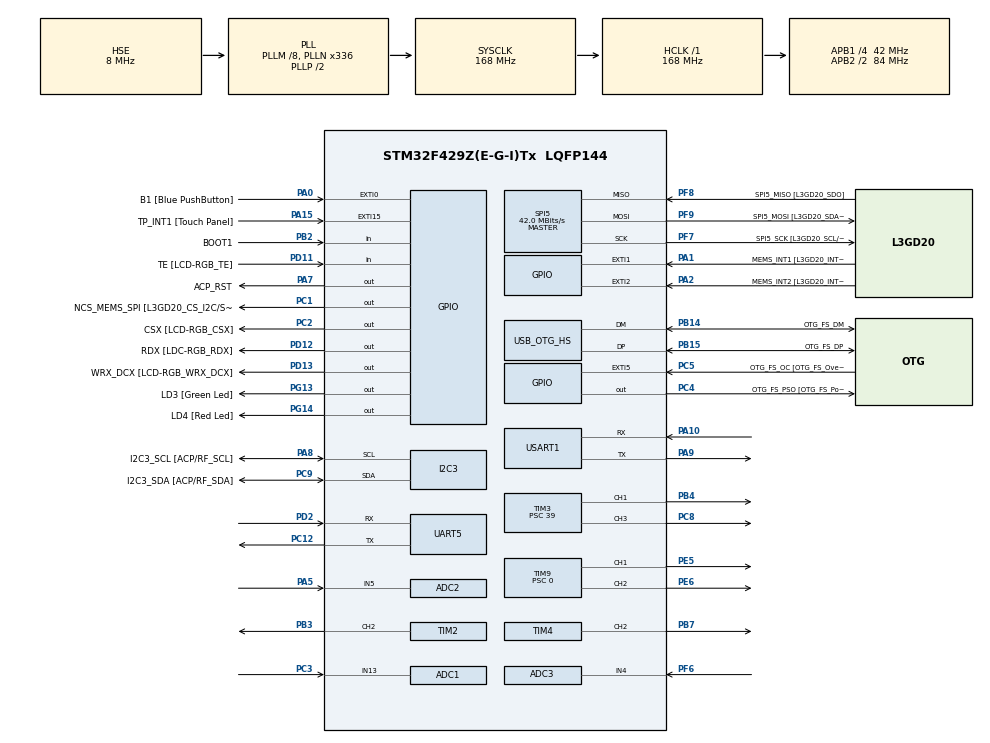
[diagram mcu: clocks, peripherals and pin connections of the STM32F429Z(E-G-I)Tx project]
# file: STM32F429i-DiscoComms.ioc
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ADC1.Channel-0\#ChannelRegularConversion=ADC_CHANNEL_13
ADC1.ContinuousConvMode=ENABLE
ADC1.DMAContinuousRequests=ENABLE
ADC1.EOCSelection=EOC_SEQ_CONV
ADC1.NbrOfConversion=1
ADC1.NbrOfConversionFlag=1
ADC1.Rank-0\#ChannelRegularConversion=1
ADC1.SamplingTime-0\#ChannelRegularConversion=ADC_SAMPLETIME_56CYCLES
ADC1.master=1
ADC2.Channel-10\#ChannelRegularConversion=ADC_CHANNEL_5
ADC2.ContinuousConvMode=ENABLE
ADC2.DMAContinuousRequests=ENABLE
ADC2.EOCSelection=EOC_SEQ_CONV
ADC2.NbrOfConversionFlag=1
ADC2.Rank-10\#ChannelRegularConversion=1
ADC2.SamplingTime-10\#ChannelRegularConversion=ADC_SAMPLETIME_56CYCLES
ADC2.ScanConvMode=DISABLE
ADC3.Channel-0\#ChannelRegularConversion=ADC_CHANNEL_4
ADC3.ContinuousConvMode=ENABLE
ADC3.DMAContinuousRequests=ENABLE
ADC3.EOCSelection=EOC_SEQ_CONV
ADC3.NbrOfConversionFlag=1
ADC3.Rank-0\#ChannelRegularConversion=1
ADC3.SamplingTime-0\#ChannelRegularConversion=ADC_SAMPLETIME_3CYCLES
Dma.ADC1.4.Channel=DMA_CHANNEL_0
Dma.ADC1.4.Direction=DMA_PERIPH_TO_MEMORY
Dma.ADC1.4.FIFOMode=DMA_FIFOMODE_DISABLE
Dma.ADC1.4.FIFOThreshold=DMA_FIFO_THRESHOLD_FULL
Dma.ADC1.4.Instance=DMA2_Stream0
Dma.ADC1.4.MemBurst=DMA_MBURST_SINGLE
Dma.ADC1.4.MemDataAlignment=DMA_MDATAALIGN_HALFWORD
Dma.ADC1.4.MemInc=DMA_MINC_DISABLE
Dma.ADC1.4.Mode=DMA_NORMAL
Dma.ADC1.4.PeriphBurst=DMA_PBURST_SINGLE
Dma.ADC1.4.PeriphDataAlignment=DMA_PDATAALIGN_HALFWORD
Dma.ADC1.4.PeriphInc=DMA_PINC_DISABLE
Dma.ADC1.4.Priority=DMA_PRIORITY_MEDIUM
Dma.ADC2.5.Channel=DMA_CHANNEL_1
Dma.ADC2.5.Direction=DMA_PERIPH_TO_MEMORY
Dma.ADC2.5.FIFOMode=DMA_FIFOMODE_DISABLE
Dma.ADC2.5.FIFOThreshold=DMA_FIFO_THRESHOLD_FULL
Dma.ADC2.5.Instance=DMA2_Stream3
Dma.ADC2.5.MemBurst=DMA_MBURST_SINGLE
Dma.ADC2.5.MemDataAlignment=DMA_MDATAALIGN_HALFWORD
Dma.ADC2.5.MemInc=DMA_MINC_DISABLE
Dma.ADC2.5.Mode=DMA_NORMAL
Dma.ADC2.5.PeriphBurst=DMA_PBURST_SINGLE
Dma.ADC2.5.PeriphDataAlignment=DMA_PDATAALIGN_HALFWORD
Dma.ADC2.5.PeriphInc=DMA_PINC_DISABLE
Dma.ADC2.5.Priority=DMA_PRIORITY_LOW
Dma.ADC3.6.Channel=DMA_CHANNEL_2
Dma.ADC3.6.Direction=DMA_PERIPH_TO_MEMORY
Dma.ADC3.6.FIFOMode=DMA_FIFOMODE_DISABLE
Dma.ADC3.6.FIFOThreshold=DMA_FIFO_THRESHOLD_FULL
Dma.ADC3.6.Instance=DMA2_Stream1
Dma.ADC3.6.MemBurst=DMA_MBURST_SINGLE
Dma.ADC3.6.MemDataAlignment=DMA_MDATAALIGN_HALFWORD
Dma.ADC3.6.MemInc=DMA_MINC_DISABLE
Dma.ADC3.6.Mode=DMA_NORMAL
Dma.ADC3.6.PeriphBurst=DMA_PBURST_SINGLE
Dma.ADC3.6.PeriphDataAlignment=DMA_PDATAALIGN_HALFWORD
Dma.ADC3.6.PeriphInc=DMA_PINC_DISABLE
Dma.ADC3.6.Priority=DMA_PRIORITY_LOW
Dma.Request0=UART5_RX
Dma.Request1=UART5_TX
Dma.Request2=USART1_RX
Dma.Request3=USART1_TX
Dma.Request4=ADC1
Dma.Request5=ADC2
Dma.Request6=ADC3
Dma.UART5_RX.0.Channel=DMA_CHANNEL_4
Dma.UART5_RX.0.Direction=DMA_PERIPH_TO_MEMORY
Dma.UART5_RX.0.FIFOMode=DMA_FIFOMODE_DISABLE
Dma.UART5_RX.0.FIFOThreshold=DMA_FIFO_THRESHOLD_FULL
Dma.UART5_RX.0.Instance=DMA1_Stream0
Dma.UART5_RX.0.MemBurst=DMA_MBURST_SINGLE
Dma.UART5_RX.0.MemDataAlignment=DMA_MDATAALIGN_BYTE
Dma.UART5_RX.0.MemInc=DMA_MINC_ENABLE
Dma.UART5_RX.0.Mode=DMA_NORMAL
Dma.UART5_RX.0.PeriphBurst=DMA_PBURST_SINGLE
Dma.UART5_RX.0.PeriphDataAlignment=DMA_PDATAALIGN_BYTE
Dma.UART5_RX.0.PeriphInc=DMA_PINC_DISABLE
Dma.UART5_RX.0.Priority=DMA_PRIORITY_LOW
Dma.UART5_TX.1.Channel=DMA_CHANNEL_4
Dma.UART5_TX.1.Direction=DMA_MEMORY_TO_PERIPH
Dma.UART5_TX.1.FIFOMode=DMA_FIFOMODE_DISABLE
Dma.UART5_TX.1.FIFOThreshold=DMA_FIFO_THRESHOLD_FULL
Dma.UART5_TX.1.Instance=DMA1_Stream7
Dma.UART5_TX.1.MemBurst=DMA_MBURST_SINGLE
Dma.UART5_TX.1.MemDataAlignment=DMA_MDATAALIGN_BYTE
Dma.UART5_TX.1.MemInc=DMA_MINC_ENABLE
Dma.UART5_TX.1.Mode=DMA_NORMAL
Dma.UART5_TX.1.PeriphBurst=DMA_PBURST_SINGLE
Dma.UART5_TX.1.PeriphDataAlignment=DMA_PDATAALIGN_BYTE
Dma.UART5_TX.1.PeriphInc=DMA_PINC_DISABLE
Dma.UART5_TX.1.Priority=DMA_PRIORITY_LOW
Dma.USART1_RX.2.Channel=DMA_CHANNEL_4
Dma.USART1_RX.2.Direction=DMA_PERIPH_TO_MEMORY
Dma.USART1_RX.2.FIFOMode=DMA_FIFOMODE_DISABLE
Dma.USART1_RX.2.FIFOThreshold=DMA_FIFO_THRESHOLD_FULL
Dma.USART1_RX.2.Instance=DMA2_Stream2
Dma.USART1_RX.2.MemBurst=DMA_MBURST_SINGLE
Dma.USART1_RX.2.MemDataAlignment=DMA_MDATAALIGN_BYTE
Dma.USART1_RX.2.MemInc=DMA_MINC_ENABLE
Dma.USART1_RX.2.Mode=DMA_NORMAL
Dma.USART1_RX.2.PeriphBurst=DMA_PBURST_SINGLE
Dma.USART1_RX.2.PeriphDataAlignment=DMA_PDATAALIGN_BYTE
Dma.USART1_RX.2.PeriphInc=DMA_PINC_DISABLE
Dma.USART1_RX.2.Priority=DMA_PRIORITY_LOW
Dma.USART1_TX.3.Channel=DMA_CHANNEL_4
Dma.USART1_TX.3.Direction=DMA_MEMORY_TO_PERIPH
Dma.USART1_TX.3.FIFOMode=DMA_FIFOMODE_DISABLE
Dma.USART1_TX.3.FIFOThreshold=DMA_FIFO_THRESHOLD_FULL
Dma.USART1_TX.3.Instance=DMA2_Stream7
Dma.USART1_TX.3.MemBurst=DMA_MBURST_SINGLE
Dma.USART1_TX.3.MemDataAlignment=DMA_MDATAALIGN_BYTE
Dma.USART1_TX.3.MemInc=DMA_MINC_ENABLE
Dma.USART1_TX.3.Mode=DMA_NORMAL
Dma.USART1_TX.3.PeriphBurst=DMA_PBURST_SINGLE
Dma.USART1_TX.3.PeriphDataAlignment=DMA_PDATAALIGN_BYTE
Dma.USART1_TX.3.PeriphInc=DMA_PINC_DISABLE
Dma.USART1_TX.3.Priority=DMA_PRIORITY_LOW
FREERTOS.Tasks01=defaultTask,0,128,StartDefaultTask
Mcu.Family=STM32F4
Mcu.Name=STM32F429Z(E-G-I)Tx
Mcu.Package=LQFP144
NVIC.ADC_IRQn=true\:5\:0\:false
NVIC.DMA1_Stream0_IRQn=true\:5\:0\:false
NVIC.DMA1_Stream7_IRQn=true\:5\:0\:false
NVIC.DMA2_Stream0_IRQn=true\:5\:0\:false
NVIC.DMA2_Stream1_IRQn=true\:5\:0\:false
NVIC.DMA2_Stream2_IRQn=true\:5\:0\:false
NVIC.DMA2_Stream3_IRQn=true\:5\:0\:false
NVIC.DMA2_Stream7_IRQn=true\:5\:0\:false
NVIC.OTG_HS_IRQn=true\:5\:0\:false
NVIC.PriorityGroup=NVIC_PRIORITYGROUP_4
NVIC.UART5_IRQn=true\:5\:0\:false
NVIC.USART1_IRQn=true\:5\:0\:false
PA0/WKUP.GPIO_Label=B1 [Blue PushButton]
PA0/WKUP.GPIO_ModeDefaultEXTI=GPIO_MODE_EVT_RISING
PA0/WKUP.GPIO_PuPd=GPIO_NOPULL
PA0/WKUP.Signal=GPXTI0
PA1.GPIO_Label=MEMS_INT1 [L3GD20_INT1]
PA1.GPIO_ModeDefaultEXTI=GPIO_MODE_EVT_RISING
PA1.GPIO_PuPd=GPIO_NOPULL
PA1.Signal=GPXTI1
PA10.Mode=Asynchronous
PA10.Signal=USART1_RX
PA11.GPIO_Label=R4
PA11.GPIO_Mode=GPIO_MODE_AF_PP
PA11.GPIO_PuPd=GPIO_NOPULL
PA11.GPIO_Speed=GPIO_SPEED_LOW
PA11.Signal=LTDC_R4
PA12.GPIO_Label=R5
PA12.GPIO_Mode=GPIO_MODE_AF_PP
PA12.GPIO_PuPd=GPIO_NOPULL
PA12.GPIO_Speed=GPIO_SPEED_LOW
PA12.Signal=LTDC_R5
PA13.GPIO_Label=SWDIO
PA13.Mode=Serial-Wire
PA13.Signal=SYS_JTMS-SWDIO
PA14.GPIO_Label=SWCLK
PA14.Mode=Serial-Wire
PA14.Signal=SYS_JTCK-SWCLK
PA15.GPIO_Label=TP_INT1 [Touch Panel]
PA15.GPIO_ModeDefaultEXTI=GPIO_MODE_EVT_RISING
PA15.GPIO_PuPd=GPIO_NOPULL
PA15.Signal=GPXTI15
PA2.GPIO_Label=MEMS_INT2 [L3GD20_INT2]
PA2.GPIO_ModeDefaultEXTI=GPIO_MODE_EVT_RISING
PA2.GPIO_PuPd=GPIO_NOPULL
PA2.Signal=GPXTI2
PA3.GPIO_Label=B5
PA3.GPIO_Mode=GPIO_MODE_AF_PP
PA3.GPIO_PuPd=GPIO_NOPULL
PA3.GPIO_Speed=GPIO_SPEED_LOW
PA3.Signal=LTDC_B5
PA4.GPIO_Label=VSYNC
PA4.GPIO_Mode=GPIO_MODE_AF_PP
PA4.GPIO_PuPd=GPIO_NOPULL
PA4.GPIO_Speed=GPIO_SPEED_LOW
PA4.Signal=LTDC_VSYNC
PA5.Signal=ADCx_IN5
PA6.GPIO_Label=G2
PA6.GPIO_Mode=GPIO_MODE_AF_PP
PA6.GPIO_PuPd=GPIO_NOPULL
PA6.GPIO_Speed=GPIO_SPEED_LOW
PA6.Signal=LTDC_G2
PA7.GPIO_Label=ACP_RST
PA7.GPIO_Mode=GPIO_MODE_OUTPUT_PP
PA7.GPIO_ModeDefaultOutputPP=GPIO_MODE_OUTPUT_PP
PA7.GPIO_PuPd=GPIO_NOPULL
PA7.GPIO_Speed=GPIO_SPEED_LOW
PA7.Signal=GPIO_Output
PA8.GPIO_Label=I2C3_SCL [ACP/RF_SCL]
PA8.GPIO_Mode=GPIO_MODE_AF_OD
PA8.GPIO_PuPd=GPIO_NOPULL
PA8.GPIO_PuPdOD=GPIO_PULLUP
PA8.GPIO_Speed=GPIO_SPEED_LOW
PA8.Mode=I2C
PA8.Signal=I2C3_SCL
PA9.Mode=Asynchronous
PA9.Signal=USART1_TX
PB0.GPIO_Label=R3
PB0.GPIO_Mode=GPIO_MODE_AF_PP
PB0.GPIO_PuPd=GPIO_NOPULL
PB0.GPIO_Speed=GPIO_SPEED_LOW
PB0.Signal=LTDC_R3
PB1.GPIO_Label=R6
PB1.GPIO_Mode=GPIO_MODE_AF_PP
PB1.GPIO_PuPd=GPIO_NOPULL
PB1.GPIO_Speed=GPIO_SPEED_LOW
PB1.Signal=LTDC_R6
PB10.GPIO_Label=G4
PB10.GPIO_Mode=GPIO_MODE_AF_PP
PB10.GPIO_PuPd=GPIO_NOPULL
PB10.GPIO_Speed=GPIO_SPEED_LOW
PB10.Signal=LTDC_G4
PB11.GPIO_Label=G5
PB11.GPIO_Mode=GPIO_MODE_AF_PP
PB11.GPIO_PuPd=GPIO_NOPULL
PB11.GPIO_Speed=GPIO_SPEED_LOW
PB11.Signal=LTDC_G5
PB12.GPIO_Label=OTG_FS_ID
PB12.GPIO_Mode=GPIO_MODE_AF_PP
PB12.GPIO_PuPd=GPIO_NOPULL
PB12.GPIO_Speed=GPIO_SPEED_LOW
PB12.Signal=USB_OTG_HS_ID
PB13.GPIO_Label=VBUS_FS
PB13.GPIO_Mode=GPIO_MODE_INPUT
PB13.GPIO_PuPd=GPIO_NOPULL
PB13.Signal=USB_OTG_HS_VBUS
PB14.GPIO_Label=OTG_FS_DM
PB14.GPIO_Mode=GPIO_MODE_AF_PP
PB14.GPIO_PuPd=GPIO_NOPULL
PB14.GPIO_Speed=GPIO_SPEED_LOW
PB14.Mode=Device_Only_FS
PB14.Signal=USB_OTG_HS_DM
PB15.GPIO_Label=OTG_FS_DP
PB15.GPIO_Mode=GPIO_MODE_AF_PP
PB15.GPIO_PuPd=GPIO_NOPULL
PB15.GPIO_Speed=GPIO_SPEED_LOW
PB15.Mode=Device_Only_FS
PB15.Signal=USB_OTG_HS_DP
PB2/BOOT1.GPIO_Label=BOOT1
PB2/BOOT1.GPIO_Mode=GPIO_MODE_INPUT
PB2/BOOT1.GPIO_PuPd=GPIO_NOPULL
PB2/BOOT1.Signal=GPIO_Input
PB3.Signal=S_TIM2_CH2
PB4.Signal=S_TIM3_CH1
PB5.GPIO_Label=SDCKE1
PB5.GPIO_Mode=GPIO_MODE_AF_PP
PB5.GPIO_PuPd=GPIO_NOPULL
PB5.GPIO_Speed=GPIO_SPEED_HIGH
PB5.GPIO_Speed_High_Default=GPIO_SPEED_HIGH
PB5.Signal=FMC_SDCKE1
PB6.GPIO_Label=SDNE1 [SDRAM_CS]
PB6.GPIO_Mode=GPIO_MODE_AF_PP
PB6.GPIO_PuPd=GPIO_NOPULL
PB6.GPIO_Speed=GPIO_SPEED_HIGH
PB6.GPIO_Speed_High_Default=GPIO_SPEED_HIGH
PB6.Signal=FMC_SDNE1
PB7.Signal=S_TIM4_CH2
PB8.GPIO_Label=B6
PB8.GPIO_Mode=GPIO_MODE_AF_PP
PB8.GPIO_PuPd=GPIO_NOPULL
PB8.GPIO_Speed=GPIO_SPEED_LOW
PB8.Signal=LTDC_B6
PB9.GPIO_Label=B7
PB9.GPIO_Mode=GPIO_MODE_AF_PP
PB9.GPIO_PuPd=GPIO_NOPULL
PB9.GPIO_Speed=GPIO_SPEED_LOW
PB9.Signal=LTDC_B7
PC0.GPIO_Label=SDNWE
PC0.GPIO_Mode=GPIO_MODE_AF_PP
PC0.GPIO_PuPd=GPIO_NOPULL
PC0.GPIO_Speed=GPIO_SPEED_HIGH
PC0.GPIO_Speed_High_Default=GPIO_SPEED_HIGH
PC0.Signal=FMC_SDNWE
PC1.GPIO_Label=NCS_MEMS_SPI [L3GD20_CS_I2C/SPI]
PC1.GPIO_Mode=GPIO_MODE_OUTPUT_PP
PC1.GPIO_ModeDefaultOutputPP=GPIO_MODE_OUTPUT_PP
PC1.GPIO_PuPd=GPIO_NOPULL
PC1.GPIO_Speed=GPIO_SPEED_LOW
PC1.Signal=GPIO_Output
PC10.GPIO_Label=R2
PC10.GPIO_Mode=GPIO_MODE_AF_PP
PC10.GPIO_PuPd=GPIO_NOPULL
PC10.GPIO_Speed=GPIO_SPEED_LOW
PC10.Signal=LTDC_R2
PC12.Mode=Asynchronous
PC12.Signal=UART5_TX
PC14/OSC32_IN.GPIO_Label=PC14-OSC32_IN
PC14/OSC32_IN.Signal=RCC_OSC32_IN
PC15/OSC32_OUT.GPIO_Label=PC15-OSC32_OUT
PC15/OSC32_OUT.Signal=RCC_OSC32_OUT
PC2.GPIO_Label=CSX [LCD-RGB_CSX]
PC2.GPIO_Mode=GPIO_MODE_OUTPUT_PP
PC2.GPIO_ModeDefaultOutputPP=GPIO_MODE_OUTPUT_PP
PC2.GPIO_PuPd=GPIO_NOPULL
PC2.GPIO_Speed=GPIO_SPEED_LOW
PC2.Signal=GPIO_Output
PC3.Signal=ADCx_IN13
PC4.GPIO_Label=OTG_FS_PSO [OTG_FS_PowerSwitchOn]
PC4.GPIO_Mode=GPIO_MODE_OUTPUT_PP
PC4.GPIO_ModeDefaultOutputPP=GPIO_MODE_OUTPUT_PP
PC4.GPIO_PuPd=GPIO_NOPULL
PC4.GPIO_Speed=GPIO_SPEED_LOW
PC4.Signal=GPIO_Output
PC5.GPIO_Label=OTG_FS_OC [OTG_FS_OverCurrent]
PC5.GPIO_ModeDefaultEXTI=GPIO_MODE_EVT_RISING
PC5.GPIO_PuPd=GPIO_NOPULL
PC5.Signal=GPXTI5
PC6.GPIO_Label=HSYNC
PC6.GPIO_Mode=GPIO_MODE_AF_PP
PC6.GPIO_PuPd=GPIO_NOPULL
PC6.GPIO_Speed=GPIO_SPEED_LOW
PC6.Signal=LTDC_HSYNC
PC7.GPIO_Label=G6
PC7.GPIO_Mode=GPIO_MODE_AF_PP
PC7.GPIO_PuPd=GPIO_NOPULL
PC7.GPIO_Speed=GPIO_SPEED_LOW
PC7.Signal=LTDC_G6
PC8.Signal=S_TIM3_CH3
PC9.GPIO_Label=I2C3_SDA [ACP/RF_SDA]
PC9.GPIO_Mode=GPIO_MODE_AF_OD
PC9.GPIO_PuPd=GPIO_NOPULL
PC9.GPIO_PuPdOD=GPIO_PULLUP
PC9.GPIO_Speed=GPIO_SPEED_LOW
PC9.Mode=I2C
PC9.Signal=I2C3_SDA
PD0.GPIO_Label=D2
PD0.GPIO_Mode=GPIO_MODE_AF_PP
PD0.GPIO_PuPd=GPIO_NOPULL
PD0.GPIO_Speed=GPIO_SPEED_HIGH
PD0.GPIO_Speed_High_Default=GPIO_SPEED_HIGH
PD0.Signal=FMC_D2_DA2
PD1.GPIO_Label=D3
PD1.GPIO_Mode=GPIO_MODE_AF_PP
PD1.GPIO_PuPd=GPIO_NOPULL
PD1.GPIO_Speed=GPIO_SPEED_HIGH
PD1.GPIO_Speed_High_Default=GPIO_SPEED_HIGH
PD1.Signal=FMC_D3_DA3
PD10.GPIO_Label=D15
PD10.GPIO_Mode=GPIO_MODE_AF_PP
PD10.GPIO_PuPd=GPIO_NOPULL
PD10.GPIO_Speed=GPIO_SPEED_HIGH
PD10.GPIO_Speed_High_Default=GPIO_SPEED_HIGH
PD10.Signal=FMC_D15_DA15
PD11.GPIO_Label=TE [LCD-RGB_TE]
PD11.GPIO_Mode=GPIO_MODE_INPUT
PD11.GPIO_PuPd=GPIO_NOPULL
PD11.Signal=GPIO_Input
PD12.GPIO_Label=RDX [LDC-RGB_RDX]
PD12.GPIO_Mode=GPIO_MODE_OUTPUT_PP
PD12.GPIO_ModeDefaultOutputPP=GPIO_MODE_OUTPUT_PP
PD12.GPIO_PuPd=GPIO_NOPULL
PD12.GPIO_Speed=GPIO_SPEED_LOW
PD12.Signal=GPIO_Output
PD13.GPIO_Label=WRX_DCX [LCD-RGB_WRX_DCX]
PD13.GPIO_Mode=GPIO_MODE_OUTPUT_PP
PD13.GPIO_ModeDefaultOutputPP=GPIO_MODE_OUTPUT_PP
PD13.GPIO_PuPd=GPIO_NOPULL
PD13.GPIO_Speed=GPIO_SPEED_LOW
PD13.Signal=GPIO_Output
PD14.GPIO_Label=D0
PD14.GPIO_Mode=GPIO_MODE_AF_PP
PD14.GPIO_PuPd=GPIO_NOPULL
PD14.GPIO_Speed=GPIO_SPEED_HIGH
PD14.GPIO_Speed_High_Default=GPIO_SPEED_HIGH
PD14.Signal=FMC_D0_DA0
PD15.GPIO_Label=D1
PD15.GPIO_Mode=GPIO_MODE_AF_PP
PD15.GPIO_PuPd=GPIO_NOPULL
PD15.GPIO_Speed=GPIO_SPEED_HIGH
PD15.GPIO_Speed_High_Default=GPIO_SPEED_HIGH
PD15.Signal=FMC_D1_DA1
PD2.Mode=Asynchronous
PD2.Signal=UART5_RX
PD3.GPIO_Label=G7
PD3.GPIO_Mode=GPIO_MODE_AF_PP
PD3.GPIO_PuPd=GPIO_NOPULL
PD3.GPIO_Speed=GPIO_SPEED_LOW
PD3.Signal=LTDC_G7
PD6.GPIO_Label=B2
PD6.GPIO_Mode=GPIO_MODE_AF_PP
PD6.GPIO_PuPd=GPIO_NOPULL
PD6.GPIO_Speed=GPIO_SPEED_LOW
PD6.Signal=LTDC_B2
PD8.GPIO_Label=D13
PD8.GPIO_Mode=GPIO_MODE_AF_PP
PD8.GPIO_PuPd=GPIO_NOPULL
PD8.GPIO_Speed=GPIO_SPEED_HIGH
PD8.GPIO_Speed_High_Default=GPIO_SPEED_HIGH
PD8.Signal=FMC_D13_DA13
PD9.GPIO_Label=D14
PD9.GPIO_Mode=GPIO_MODE_AF_PP
PD9.GPIO_PuPd=GPIO_NOPULL
PD9.GPIO_Speed=GPIO_SPEED_HIGH
PD9.GPIO_Speed_High_Default=GPIO_SPEED_HIGH
PD9.Signal=FMC_D14_DA14
PE0.GPIO_Label=NBL0 [SDRAM_LDQM]
PE0.GPIO_Mode=GPIO_MODE_AF_PP
PE0.GPIO_PuPd=GPIO_NOPULL
PE0.GPIO_Speed=GPIO_SPEED_HIGH
PE0.GPIO_Speed_High_Default=GPIO_SPEED_HIGH
PE0.Signal=FMC_NBL0
PE1.GPIO_Label=NBL1 [SDRAM_UDQM]
PE1.GPIO_Mode=GPIO_MODE_AF_PP
PE1.GPIO_PuPd=GPIO_NOPULL
PE1.GPIO_Speed=GPIO_SPEED_HIGH
PE1.GPIO_Speed_High_Default=GPIO_SPEED_HIGH
PE1.Signal=FMC_NBL1
PE10.GPIO_Label=D7
PE10.GPIO_Mode=GPIO_MODE_AF_PP
PE10.GPIO_PuPd=GPIO_NOPULL
PE10.GPIO_Speed=GPIO_SPEED_HIGH
PE10.GPIO_Speed_High_Default=GPIO_SPEED_HIGH
PE10.Signal=FMC_D7_DA7
PE11.GPIO_Label=D8
PE11.GPIO_Mode=GPIO_MODE_AF_PP
PE11.GPIO_PuPd=GPIO_NOPULL
PE11.GPIO_Speed=GPIO_SPEED_HIGH
PE11.GPIO_Speed_High_Default=GPIO_SPEED_HIGH
PE11.Signal=FMC_D8_DA8
PE12.GPIO_Label=D9
PE12.GPIO_Mode=GPIO_MODE_AF_PP
PE12.GPIO_PuPd=GPIO_NOPULL
PE12.GPIO_Speed=GPIO_SPEED_HIGH
PE12.GPIO_Speed_High_Default=GPIO_SPEED_HIGH
PE12.Signal=FMC_D9_DA9
PE13.GPIO_Label=D10
PE13.GPIO_Mode=GPIO_MODE_AF_PP
PE13.GPIO_PuPd=GPIO_NOPULL
PE13.GPIO_Speed=GPIO_SPEED_HIGH
PE13.GPIO_Speed_High_Default=GPIO_SPEED_HIGH
PE13.Signal=FMC_D10_DA10
PE14.GPIO_Label=D11
PE14.GPIO_Mode=GPIO_MODE_AF_PP
PE14.GPIO_PuPd=GPIO_NOPULL
PE14.GPIO_Speed=GPIO_SPEED_HIGH
PE14.GPIO_Speed_High_Default=GPIO_SPEED_HIGH
PE14.Signal=FMC_D11_DA11
PE15.GPIO_Label=D12
PE15.GPIO_Mode=GPIO_MODE_AF_PP
PE15.GPIO_PuPd=GPIO_NOPULL
PE15.GPIO_Speed=GPIO_SPEED_HIGH
PE15.GPIO_Speed_High_Default=GPIO_SPEED_HIGH
PE15.Signal=FMC_D12_DA12
PE5.Signal=S_TIM9_CH1
PE6.Signal=S_TIM9_CH2
PE7.GPIO_Label=D4
PE7.GPIO_Mode=GPIO_MODE_AF_PP
PE7.GPIO_PuPd=GPIO_NOPULL
PE7.GPIO_Speed=GPIO_SPEED_HIGH
PE7.GPIO_Speed_High_Default=GPIO_SPEED_HIGH
PE7.Signal=FMC_D4_DA4
PE8.GPIO_Label=D5
PE8.GPIO_Mode=GPIO_MODE_AF_PP
PE8.GPIO_PuPd=GPIO_NOPULL
PE8.GPIO_Speed=GPIO_SPEED_HIGH
PE8.GPIO_Speed_High_Default=GPIO_SPEED_HIGH
PE8.Signal=FMC_D5_DA5
PE9.GPIO_Label=D6
PE9.GPIO_Mode=GPIO_MODE_AF_PP
PE9.GPIO_PuPd=GPIO_NOPULL
PE9.GPIO_Speed=GPIO_SPEED_HIGH
PE9.GPIO_Speed_High_Default=GPIO_SPEED_HIGH
PE9.Signal=FMC_D6_DA6
PF0.GPIO_Label=A0
PF0.GPIO_Mode=GPIO_MODE_AF_PP
PF0.GPIO_PuPd=GPIO_NOPULL
PF0.GPIO_Speed=GPIO_SPEED_HIGH
PF0.GPIO_Speed_High_Default=GPIO_SPEED_HIGH
PF0.Signal=FMC_A0
PF1.GPIO_Label=A1
PF1.GPIO_Mode=GPIO_MODE_AF_PP
PF1.GPIO_PuPd=GPIO_NOPULL
PF1.GPIO_Speed=GPIO_SPEED_HIGH
PF1.GPIO_Speed_High_Default=GPIO_SPEED_HIGH
PF1.Signal=FMC_A1
PF10.GPIO_Label=ENABLE [LCD-RGB_ENABLE]
PF10.GPIO_Mode=GPIO_MODE_AF_PP
PF10.GPIO_PuPd=GPIO_NOPULL
PF10.GPIO_Speed=GPIO_SPEED_LOW
PF10.Signal=LTDC_DE
PF11.GPIO_Label=SDNRAS
PF11.GPIO_Mode=GPIO_MODE_AF_PP
PF11.GPIO_PuPd=GPIO_NOPULL
PF11.GPIO_Speed=GPIO_SPEED_HIGH
PF11.GPIO_Speed_High_Default=GPIO_SPEED_HIGH
PF11.Signal=FMC_SDNRAS
PF12.GPIO_Label=A6
PF12.GPIO_Mode=GPIO_MODE_AF_PP
PF12.GPIO_PuPd=GPIO_NOPULL
PF12.GPIO_Speed=GPIO_SPEED_HIGH
PF12.GPIO_Speed_High_Default=GPIO_SPEED_HIGH
PF12.Signal=FMC_A6
PF13.GPIO_Label=A7
PF13.GPIO_Mode=GPIO_MODE_AF_PP
PF13.GPIO_PuPd=GPIO_NOPULL
PF13.GPIO_Speed=GPIO_SPEED_HIGH
PF13.GPIO_Speed_High_Default=GPIO_SPEED_HIGH
PF13.Signal=FMC_A7
PF14.GPIO_Label=A8
PF14.GPIO_Mode=GPIO_MODE_AF_PP
PF14.GPIO_PuPd=GPIO_NOPULL
PF14.GPIO_Speed=GPIO_SPEED_HIGH
PF14.GPIO_Speed_High_Default=GPIO_SPEED_HIGH
PF14.Signal=FMC_A8
PF15.GPIO_Label=A9
PF15.GPIO_Mode=GPIO_MODE_AF_PP
PF15.GPIO_PuPd=GPIO_NOPULL
PF15.GPIO_Speed=GPIO_SPEED_HIGH
PF15.GPIO_Speed_High_Default=GPIO_SPEED_HIGH
PF15.Signal=FMC_A9
PF2.GPIO_Label=A2
PF2.GPIO_Mode=GPIO_MODE_AF_PP
PF2.GPIO_PuPd=GPIO_NOPULL
PF2.GPIO_Speed=GPIO_SPEED_HIGH
PF2.GPIO_Speed_High_Default=GPIO_SPEED_HIGH
PF2.Signal=FMC_A2
PF3.GPIO_Label=A3
PF3.GPIO_Mode=GPIO_MODE_AF_PP
PF3.GPIO_PuPd=GPIO_NOPULL
PF3.GPIO_Speed=GPIO_SPEED_HIGH
PF3.GPIO_Speed_High_Default=GPIO_SPEED_HIGH
PF3.Signal=FMC_A3
PF4.GPIO_Label=A4
PF4.GPIO_Mode=GPIO_MODE_AF_PP
PF4.GPIO_PuPd=GPIO_NOPULL
PF4.GPIO_Speed=GPIO_SPEED_HIGH
PF4.GPIO_Speed_High_Default=GPIO_SPEED_HIGH
PF4.Signal=FMC_A4
PF5.GPIO_Label=A5
PF5.GPIO_Mode=GPIO_MODE_AF_PP
PF5.GPIO_PuPd=GPIO_NOPULL
PF5.GPIO_Speed=GPIO_SPEED_HIGH
PF5.GPIO_Speed_High_Default=GPIO_SPEED_HIGH
PF5.Signal=FMC_A5
PF6.Mode=IN4
PF6.Signal=ADC3_IN4
PF7.GPIO_Label=SPI5_SCK [L3GD20_SCL/SPC]
PF7.GPIO_Mode=GPIO_MODE_AF_PP
PF7.GPIO_PuPd=GPIO_NOPULL
PF7.GPIO_Speed=GPIO_SPEED_LOW
PF7.Mode=Full_Duplex_Master
PF7.Signal=SPI5_SCK
PF8.GPIO_Label=SPI5_MISO [L3GD20_SDO]
PF8.GPIO_Mode=GPIO_MODE_AF_PP
PF8.GPIO_PuPd=GPIO_NOPULL
PF8.GPIO_Speed=GPIO_SPEED_LOW
PF8.Mode=Full_Duplex_Master
PF8.Signal=SPI5_MISO
PF9.GPIO_Label=SPI5_MOSI [L3GD20_SDA/SDI/SDO]
PF9.GPIO_Mode=GPIO_MODE_AF_PP
PF9.GPIO_PuPd=GPIO_NOPULL
PF9.GPIO_Speed=GPIO_SPEED_LOW
PF9.Mode=Full_Duplex_Master
PF9.Signal=SPI5_MOSI
PG0.GPIO_Label=A10
PG0.GPIO_Mode=GPIO_MODE_AF_PP
PG0.GPIO_PuPd=GPIO_NOPULL
PG0.GPIO_Speed=GPIO_SPEED_HIGH
PG0.GPIO_Speed_High_Default=GPIO_SPEED_HIGH
PG0.Signal=FMC_A10
PG1.GPIO_Label=A11
PG1.GPIO_Mode=GPIO_MODE_AF_PP
PG1.GPIO_PuPd=GPIO_NOPULL
PG1.GPIO_Speed=GPIO_SPEED_HIGH
PG1.GPIO_Speed_High_Default=GPIO_SPEED_HIGH
PG1.Signal=FMC_A11
PG10.GPIO_Label=G3
PG10.GPIO_Mode=GPIO_MODE_AF_PP
PG10.GPIO_PuPd=GPIO_NOPULL
PG10.GPIO_Speed=GPIO_SPEED_LOW
PG10.Signal=LTDC_G3
PG11.GPIO_Label=B3
PG11.GPIO_Mode=GPIO_MODE_AF_PP
PG11.GPIO_PuPd=GPIO_NOPULL
PG11.GPIO_Speed=GPIO_SPEED_LOW
PG11.Signal=LTDC_B3
PG12.GPIO_Label=B4
PG12.GPIO_Mode=GPIO_MODE_AF_PP
PG12.GPIO_PuPd=GPIO_NOPULL
PG12.GPIO_Speed=GPIO_SPEED_LOW
PG12.Signal=LTDC_B4
PG13.GPIO_Label=LD3 [Green Led]
PG13.GPIO_Mode=GPIO_MODE_OUTPUT_PP
PG13.GPIO_ModeDefaultOutputPP=GPIO_MODE_OUTPUT_PP
PG13.GPIO_PuPd=GPIO_NOPULL
PG13.GPIO_Speed=GPIO_SPEED_LOW
PG13.Signal=GPIO_Output
PG14.GPIO_Label=LD4 [Red Led]
PG14.GPIO_Mode=GPIO_MODE_OUTPUT_PP
PG14.GPIO_ModeDefaultOutputPP=GPIO_MODE_OUTPUT_PP
PG14.GPIO_PuPd=GPIO_NOPULL
PG14.GPIO_Speed=GPIO_SPEED_LOW
PG14.Signal=GPIO_Output
PG15.GPIO_Label=SDNCAS
PG15.GPIO_Mode=GPIO_MODE_AF_PP
PG15.GPIO_PuPd=GPIO_NOPULL
PG15.GPIO_Speed=GPIO_SPEED_HIGH
PG15.GPIO_Speed_High_Default=GPIO_SPEED_HIGH
PG15.Signal=FMC_SDNCAS
PG4.GPIO_Label=BA0
PG4.GPIO_Mode=GPIO_MODE_AF_PP
PG4.GPIO_PuPd=GPIO_NOPULL
PG4.GPIO_Speed=GPIO_SPEED_HIGH
PG4.GPIO_Speed_High_Default=GPIO_SPEED_HIGH
PG4.Signal=FMC_A14_BA0
PG5.GPIO_Label=BA1
PG5.GPIO_Mode=GPIO_MODE_AF_PP
PG5.GPIO_PuPd=GPIO_NOPULL
PG5.GPIO_Speed=GPIO_SPEED_HIGH
PG5.GPIO_Speed_High_Default=GPIO_SPEED_HIGH
PG5.Signal=FMC_A15_BA1
PG6.GPIO_Label=R7
PG6.GPIO_Mode=GPIO_MODE_AF_PP
PG6.GPIO_PuPd=GPIO_NOPULL
PG6.GPIO_Speed=GPIO_SPEED_LOW
PG6.Signal=LTDC_R7
PG7.GPIO_Label=DOTCLK [LCT-RGB_DOTCLK]
PG7.GPIO_Mode=GPIO_MODE_AF_PP
PG7.GPIO_PuPd=GPIO_NOPULL
PG7.GPIO_Speed=GPIO_SPEED_LOW
PG7.Signal=LTDC_CLK
PG8.GPIO_Label=SDCLK
PG8.GPIO_Mode=GPIO_MODE_AF_PP
PG8.GPIO_PuPd=GPIO_NOPULL
PG8.GPIO_Speed=GPIO_SPEED_HIGH
PG8.GPIO_Speed_High_Default=GPIO_SPEED_HIGH
PG8.Signal=FMC_SDCLK
PH0/OSC_IN.GPIO_Label=PH0-OSC_IN
PH0/OSC_IN.Mode=HSE-External-Oscillator
PH0/OSC_IN.Signal=RCC_OSC_IN
PH1/OSC_OUT.GPIO_Label=PH1-OSC_OUT
PH1/OSC_OUT.Mode=HSE-External-Oscillator
PH1/OSC_OUT.Signal=RCC_OSC_OUT
ProjectManager.TargetToolchain=SW4STM32
RCC.48MHZClocksFreq_Value=48000000
RCC.AHBFreq_Value=168000000
RCC.APB1CLKDivider=RCC_HCLK_DIV4
RCC.APB1Freq_Value=42000000
RCC.APB1TimFreq_Value=84000000
RCC.APB2CLKDivider=RCC_HCLK_DIV2
RCC.APB2Freq_Value=84000000
RCC.APB2TimFreq_Value=168000000
RCC.CortexFreq_Value=168000000
RCC.HCLKFreq_Value=168000000
RCC.HSE_VALUE=8000000
RCC.HSI_VALUE=16000000
RCC.LSE_VALUE=32768
RCC.PLLM=8
RCC.PLLN=336
RCC.PLLQ=7
RCC.SYSCLKFreq_VALUE=168000000
RCC.SYSCLKSource=RCC_SYSCLKSOURCE_PLLCLK
RCC.VCOOutputFreq_Value=336000000
SH.ADCx_IN13.0=ADC1_IN13,IN13
SH.ADCx_IN5.0=ADC2_IN5,IN5
SH.FMC_A0.0=FMC_A0
SH.FMC_A1.0=FMC_A1
SH.FMC_A10.0=FMC_A10
SH.FMC_A11.0=FMC_A11
SH.FMC_A14_BA0.0=FMC_BA0
SH.FMC_A15_BA1.0=FMC_BA1
SH.FMC_A2.0=FMC_A2
SH.FMC_A3.0=FMC_A3
SH.FMC_A4.0=FMC_A4
SH.FMC_A5.0=FMC_A5
SH.FMC_A6.0=FMC_A6
SH.FMC_A7.0=FMC_A7
SH.FMC_A8.0=FMC_A8
SH.FMC_A9.0=FMC_A9
SH.FMC_D0_DA0.0=FMC_D0
SH.FMC_D10_DA10.0=FMC_D10
SH.FMC_D11_DA11.0=FMC_D11
SH.FMC_D12_DA12.0=FMC_D12
SH.FMC_D13_DA13.0=FMC_D13
SH.FMC_D14_DA14.0=FMC_D14
SH.FMC_D15_DA15.0=FMC_D15
SH.FMC_D1_DA1.0=FMC_D1
SH.FMC_D2_DA2.0=FMC_D2
SH.FMC_D3_DA3.0=FMC_D3
SH.FMC_D4_DA4.0=FMC_D4
SH.FMC_D5_DA5.0=FMC_D5
SH.FMC_D6_DA6.0=FMC_D6
SH.FMC_D7_DA7.0=FMC_D7
SH.FMC_D8_DA8.0=FMC_D8
SH.FMC_D9_DA9.0=FMC_D9
SH.FMC_NBL0.0=FMC_NBL0
SH.FMC_NBL1.0=FMC_NBL1
SH.FMC_SDCLK.0=FMC_SDCLK
SH.FMC_SDNCAS.0=FMC_SDNCAS
SH.FMC_SDNRAS.0=FMC_SDNRAS
SH.FMC_SDNWE.0=FMC_SDNWE
SH.S_TIM2_CH2.0=TIM2_CH2,PWM Generation2 CH2
SH.S_TIM3_CH1.0=TIM3_CH1,PWM Generation1 CH1
SH.S_TIM3_CH3.0=TIM3_CH3,PWM Generation3 CH3
SH.S_TIM4_CH2.0=TIM4_CH2,PWM Generation2 CH2
SH.S_TIM9_CH1.0=TIM9_CH1,PWM Generation1 CH1
SH.S_TIM9_CH2.0=TIM9_CH2,PWM Generation2 CH2
SPI5.CalculateBaudRate=42.0 MBits/s
SPI5.Mode=SPI_MODE_MASTER
TIM2.Channel-PWM\ Generation2\ CH2=TIM_CHANNEL_2
TIM2.ClockDivision=TIM_CLOCKDIVISION_DIV4
TIM2.Period=1000
TIM2.Prescaler=39
TIM2.Pulse-PWM\ Generation2\ CH2=0
TIM3.Channel-PWM\ Generation3\ CH3=TIM_CHANNEL_3
TIM3.ClockDivision=TIM_CLOCKDIVISION_DIV4
TIM3.Period=0
TIM3.Prescaler=39
TIM3.Pulse-PWM\ Generation1\ CH1=1500
TIM3.Pulse-PWM\ Generation3\ CH3=0
TIM4.Channel-PWM\ Generation2\ CH2=TIM_CHANNEL_2
TIM4.ClockDivision=TIM_CLOCKDIVISION_DIV4
TIM4.Period=0
TIM4.Prescaler=0
TIM4.Pulse-PWM\ Generation2\ CH2=1500
TIM9.Channel-PWM\ Generation2\ CH2=TIM_CHANNEL_2
TIM9.ClockDivision=TIM_CLOCKDIVISION_DIV4
TIM9.Period=0
TIM9.Prescaler=0
TIM9.Pulse-PWM\ Generation1\ CH1=0
TIM9.Pulse-PWM\ Generation2\ CH2=0
USB_DEVICE.CLASS_NAME-CDC_HS=CDC
USB_DEVICE.USBD_HandleTypeDef-CDC_HS=hUsbDeviceHS
USB_DEVICE.VirtualMode-CDC_HS=Cdc
USB_DEVICE.VirtualModeHS=Cdc_HS
USB_OTG_HS.VirtualMode-Device_Only_FS=Device_Only_FS
VP_FREERTOS_VS_ENABLE.Mode=Enabled
VP_USB_DEVICE_VS_USB_DEVICE_CDC_HS.Mode=CDC_HS
board=STM32F429I-DISCO

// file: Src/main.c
/**
  ******************************************************************************
  * File Name          : main.c
  * Description        : Main program body
  ******************************************************************************
  *
  * COPYRIGHT(c) 2016 STMicroelectronics
  *
  * Redistribution and use in source and binary forms, with or without modification,
  * are permitted provided that the following conditions are met:
  *   1. Redistributions of source code must retain the above copyright notice,
  *      this list of conditions and the following disclaimer.
  *   2. Redistributions in binary form must reproduce the above copyright notice,
  *      this list of conditions and the following disclaimer in the documentation
  *      and/or other materials provided with the distribution.
  *   3. Neither the name of STMicroelectronics nor the names of its contributors
  *      may be used to endorse or promote products derived from this software
  *      without specific prior written permission.
  *
  * THIS SOFTWARE IS PROVIDED BY THE COPYRIGHT HOLDERS AND CONTRIBUTORS "AS IS"
  * AND ANY EXPRESS OR IMPLIED WARRANTIES, INCLUDING, BUT NOT LIMITED TO, THE
  * IMPLIED WARRANTIES OF MERCHANTABILITY AND FITNESS FOR A PARTICULAR PURPOSE ARE
  * DISCLAIMED. IN NO EVENT SHALL THE COPYRIGHT HOLDER OR CONTRIBUTORS BE LIABLE
  * FOR ANY DIRECT, INDIRECT, INCIDENTAL, SPECIAL, EXEMPLARY, OR CONSEQUENTIAL
  * DAMAGES (INCLUDING, BUT NOT LIMITED TO, PROCUREMENT OF SUBSTITUTE GOODS OR
  * SERVICES; LOSS OF USE, DATA, OR PROFITS; OR BUSINESS INTERRUPTION) HOWEVER
  * CAUSED AND ON ANY THEORY OF LIABILITY, WHETHER IN CONTRACT, STRICT LIABILITY,
  * OR TORT (INCLUDING NEGLIGENCE OR OTHERWISE) ARISING IN ANY WAY OUT OF THE USE
  * OF THIS SOFTWARE, EVEN IF ADVISED OF THE POSSIBILITY OF SUCH DAMAGE.
  *
  ******************************************************************************
  */
#include "stm32f4xx_hal.h"
#include "cmsis_os.h"
#include "adc.h"
#include "dma.h"
#include "i2c.h"
#include "spi.h"
#include "tim.h"
#include "usart.h"
#include "usb_device.h"
#include "gpio.h"

/* USER CODE BEGIN PV */
/* Private variables ---------------------------------------------------------*/

/* USER CODE END PV */

void SystemClock_Config(void);
void MX_FREERTOS_Init(void);

/* USER CODE BEGIN PFP */
void task_one(void);
void task_two(void);
void taskADC(void);

/* Private function prototypes -----------------------------------------------*/

/* USER CODE END PFP */

/* USER CODE BEGIN 0 */

#define RX_BUFLEN (133*2)
unsigned char usart_RxBuf[2][RX_BUFLEN];
//char usart1_TxBuf[132];

//unsigned char uart5_RxBuf[RX_BUFLEN];
//char uart5_TxBuf[132];

//uint8_t* str_one = "Hello USART 1, from Task one have a happy day!\r\n";
//uint8_t* str_two = "Hello USART 1, from Task two have a happy day!\r\n";

/* USER CODE END 0 */

int main(void)
{

  /* USER CODE BEGIN 1 */
	// uint32_t i;
  /* USER CODE END 1 */

  /* MCU Configuration----------------------------------------------------------*/

  /* Reset of all peripherals, Initializes the Flash interface and the Systick. */
  HAL_Init();

  /* Configure the system clock */
  SystemClock_Config();

  /* Initialize all configured peripherals */
  MX_GPIO_Init();
  MX_DMA_Init();
  MX_ADC1_Init();
  MX_ADC2_Init();
  MX_ADC3_Init();
  MX_I2C3_Init();
  MX_SPI5_Init();
  MX_TIM2_Init();
  MX_TIM3_Init();
  MX_TIM4_Init();
  MX_TIM9_Init();
  MX_UART5_Init();
  MX_USART1_UART_Init();

  /* USER CODE BEGIN 2 */
  memset(usart_RxBuf[0],0,RX_BUFLEN);
  memset(usart_RxBuf[1],0,RX_BUFLEN);

  /* USER CODE END 2 */

  /* Call init function for freertos objects (in freertos.c) */
  MX_FREERTOS_Init();

  /* Start scheduler */
//  osKernelStart();

  /* We should never get here as control is now taken by the scheduler */

  /* Infinite loop */
  /* USER CODE BEGIN WHILE */
   HAL_UART_Receive_DMA(&huart5,usart_RxBuf[0],RX_BUFLEN);
   HAL_UART_Receive_DMA(&huart1,usart_RxBuf[1],RX_BUFLEN);
   TaskHandle_t t1Handle;
   TaskHandle_t t2Handle;
   TaskHandle_t adcHandle;
   HAL_UART_Transmit_DMA(&huart1,(uint8_t*) "Hello This is UART 1\r\n"  ,(unsigned) 22);
   HAL_UART_Transmit_DMA(&huart5,(uint8_t*) "Hello this is UART 5\r\n"  ,(unsigned) 22);

                               /*(code, name,stacksize,
   	   	   	   	   	   	   	   void *pvParameters,
                               UBaseType_t uxPriority,
                               TaskHandle_t *pvCreatedTask
                               */
   //BaseType_t task1 =
		   xTaskCreate(task_one,"Task One",configMINIMAL_STACK_SIZE
		   ,(void *) NULL,(tskIDLE_PRIORITY + configMAX_PRIORITIES - 1)/2,&t1Handle);
   //BaseType_t task2 =
		   xTaskCreate(task_two,"Task Two",configMINIMAL_STACK_SIZE
		   ,(void *) NULL,(tskIDLE_PRIORITY + configMAX_PRIORITIES - 1)/2,&t2Handle);

   //BaseType_t task3 =
		   xTaskCreate(taskADC,"Task ADC",configMINIMAL_STACK_SIZE
   		   ,(void *) NULL,(tskIDLE_PRIORITY + configMAX_PRIORITIES - 1)/2,&adcHandle);

   //vTaskPrioritySet( t1Handle, tskIDLE_PRIORITY + 1 );
   //vTaskPrioritySet( t2Handle, tskIDLE_PRIORITY + 2 );

   configASSERT( t1Handle );
   configASSERT( t2Handle );
   configASSERT( adcHandle );

//   HAL_Delay(1000); HAL_Delay won't work with FreeRTOS, must do in a task
  // while(i++ < 1000000);

   osKernelStart();
  while (1)
  {
  /* USER CODE END WHILE */

  }

}

/** System Clock Configuration
*/
void SystemClock_Config(void)
{

  RCC_OscInitTypeDef RCC_OscInitStruct;
  RCC_ClkInitTypeDef RCC_ClkInitStruct;

  __PWR_CLK_ENABLE();

  __HAL_PWR_VOLTAGESCALING_CONFIG(PWR_REGULATOR_VOLTAGE_SCALE1);

  RCC_OscInitStruct.OscillatorType = RCC_OSCILLATORTYPE_HSE;
  RCC_OscInitStruct.HSEState = RCC_HSE_ON;
  RCC_OscInitStruct.PLL.PLLState = RCC_PLL_ON;
  RCC_OscInitStruct.PLL.PLLSource = RCC_PLLSOURCE_HSE;
  RCC_OscInitStruct.PLL.PLLM = 8;
  RCC_OscInitStruct.PLL.PLLN = 336;
  RCC_OscInitStruct.PLL.PLLP = RCC_PLLP_DIV2;
  RCC_OscInitStruct.PLL.PLLQ = 7;
  HAL_RCC_OscConfig(&RCC_OscInitStruct);

  RCC_ClkInitStruct.ClockType = RCC_CLOCKTYPE_SYSCLK|RCC_CLOCKTYPE_PCLK1
                              |RCC_CLOCKTYPE_PCLK2;
  RCC_ClkInitStruct.SYSCLKSource = RCC_SYSCLKSOURCE_PLLCLK;
  RCC_ClkInitStruct.AHBCLKDivider = RCC_SYSCLK_DIV1;
  RCC_ClkInitStruct.APB1CLKDivider = RCC_HCLK_DIV4;
  RCC_ClkInitStruct.APB2CLKDivider = RCC_HCLK_DIV2;
  HAL_RCC_ClockConfig(&RCC_ClkInitStruct, FLASH_LATENCY_5);

  HAL_SYSTICK_Config(HAL_RCC_GetHCLKFreq()/1000);

  HAL_SYSTICK_CLKSourceConfig(SYSTICK_CLKSOURCE_HCLK);

  /* SysTick_IRQn interrupt configuration */
  HAL_NVIC_SetPriority(SysTick_IRQn, 0, 0);
}

/* USER CODE BEGIN 4 */

/**
 * This task manages UART1  communications
 * UART1 is used to communicate to the terminal. It has two helper tasks
 *      - DMA is used to manage transfers to and from Tx/Rx ports to memory
 *      - Readline - scans the DMA buffer for lines of text , maintains a circular queue of pointers
 *                 - called by TC and HalfFUll interrupts
 *      - TX holds a que of up to 10 buffers, queue management
 *             When a buffer is transmitted it is truncated by putting a null @ buf[0]
 */
char *MAIN_task1_message1 = "Hello UART 1, have a nice day! from Task_1\r\n";
char *MAIN_task1_message5 = "Hello UART 5, have a nice day! from Task_1\r\n";

void task_one(void) {

	while (-1) {
		while(HAL_UART_GetState(&huart5)==HAL_UART_STATE_BUSY_TX);
		HAL_UART_Transmit_DMA(&huart5,(uint8_t*)  MAIN_task1_message5 ,strlen( MAIN_task1_message5));

				//HAL_UART_Transmit_DMA(&huart1,str_one,strlen((char *) str_one));
		while(HAL_UART_GetState(&huart1)==HAL_UART_STATE_BUSY_TX);
		HAL_UART_Transmit_DMA(&huart1,(uint8_t *) MAIN_task1_message1 ,strlen( MAIN_task1_message1));  // won't work because we initialized DMA

		vTaskDelay(1000);
	}
}

/**
 * Same as Task1  but for UART5
 *
 * Used to communicate to a primary VLDiscovery F3 or F4 device giving IO expansion
 * May be moved to SPI or I2C
 * May be equipped with a SIM800 GSM/Bluetooth device
 */

char *MAIN_task2_message1 = "Hello UART 1, from Task_2 (me me me)\r\n";
char *MAIN_task2_message5 = "Hello UART 5, from Task_2 (me me me)\r\n";

void task_two(void) {
	for(;;) {

		while(HAL_UART_GetState(&huart5)==HAL_UART_STATE_BUSY_TX);
		HAL_UART_Transmit_DMA(&huart5,(uint8_t *) MAIN_task2_message5  ,strlen( MAIN_task2_message5));

		while(HAL_UART_GetState(&huart1)==HAL_UART_STATE_BUSY_TX);
		HAL_UART_Transmit_DMA(&huart1,(uint8_t *) MAIN_task2_message1,strlen( MAIN_task2_message1));
		// HAL_UART_Transmit_IT(&huart1,str_two,strlen((char *) str_two));  // won't work because we initialized DMA
		vTaskDelay(1150);
	}
}

/**
 * This task provides stats from the ADC
 *     Buffers are averaged, SD, max and min
 */

char * MAIN_adc_message1 = "Hello UART 1, from ADC_Task\r\n";
char * MAIN_adc_message5 = "Hello UART 5, from ADC_Task\r\n";

#define ADC_DATASIZE 512

uint16_t adcData[3][ADC_DATASIZE];

/**
 * This board only has 3 adc available
 *   (possibly 4 if we overlay the Apple Comms port and other high Z inputs)
 *
 *   So each ADC/DMA combination handles exactly one input channel
 *      Great for doing FFT and graphics since data is already organised
 */

void taskADC(void) {
	HAL_ADC_Init(&hadc1);
	HAL_ADC_Init(&hadc2);
	HAL_ADC_Init(&hadc3);

	HAL_ADC_Start_DMA(&hadc1,(uint32_t *) adcData[0], ADC_DATASIZE);
	HAL_ADC_Start_DMA(&hadc2,(uint32_t *) adcData[1], ADC_DATASIZE);
	HAL_ADC_Start_DMA(&hadc2,(uint32_t *) adcData[2], ADC_DATASIZE);

	for(;;) {
			while(HAL_UART_GetState(&huart1)==HAL_UART_STATE_BUSY_TX);
			HAL_UART_Transmit_DMA(&huart1,(uint8_t *) MAIN_adc_message1  , strlen( MAIN_adc_message1));

			while(HAL_UART_GetState(&huart5)==HAL_UART_STATE_BUSY_TX);
			HAL_UART_Transmit_DMA(&huart5,(uint8_t *) MAIN_adc_message5  ,strlen( MAIN_adc_message5));

			vTaskDelay(1350);
		}

}

/* USER CODE END 4 */

/************************ (C) COPYRIGHT STMicroelectronics *****END OF FILE****/

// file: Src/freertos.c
/**
  ******************************************************************************
  * File Name          : freertos.c
  * Description        : Code for freertos applications
  ******************************************************************************
  *
  * COPYRIGHT(c) 2016 STMicroelectronics
  *
  * Redistribution and use in source and binary forms, with or without modification,
  * are permitted provided that the following conditions are met:
  *   1. Redistributions of source code must retain the above copyright notice,
  *      this list of conditions and the following disclaimer.
  *   2. Redistributions in binary form must reproduce the above copyright notice,
  *      this list of conditions and the following disclaimer in the documentation
  *      and/or other materials provided with the distribution.
  *   3. Neither the name of STMicroelectronics nor the names of its contributors
  *      may be used to endorse or promote products derived from this software
  *      without specific prior written permission.
  *
  * THIS SOFTWARE IS PROVIDED BY THE COPYRIGHT HOLDERS AND CONTRIBUTORS "AS IS"
  * AND ANY EXPRESS OR IMPLIED WARRANTIES, INCLUDING, BUT NOT LIMITED TO, THE
  * IMPLIED WARRANTIES OF MERCHANTABILITY AND FITNESS FOR A PARTICULAR PURPOSE ARE
  * DISCLAIMED. IN NO EVENT SHALL THE COPYRIGHT HOLDER OR CONTRIBUTORS BE LIABLE
  * FOR ANY DIRECT, INDIRECT, INCIDENTAL, SPECIAL, EXEMPLARY, OR CONSEQUENTIAL
  * DAMAGES (INCLUDING, BUT NOT LIMITED TO, PROCUREMENT OF SUBSTITUTE GOODS OR
  * SERVICES; LOSS OF USE, DATA, OR PROFITS; OR BUSINESS INTERRUPTION) HOWEVER
  * CAUSED AND ON ANY THEORY OF LIABILITY, WHETHER IN CONTRACT, STRICT LIABILITY,
  * OR TORT (INCLUDING NEGLIGENCE OR OTHERWISE) ARISING IN ANY WAY OUT OF THE USE
  * OF THIS SOFTWARE, EVEN IF ADVISED OF THE POSSIBILITY OF SUCH DAMAGE.
  *
  ******************************************************************************
  */

#include "FreeRTOS.h"
#include "task.h"
#include "cmsis_os.h"

osThreadId defaultTaskHandle;

void StartDefaultTask(void const * argument);

extern void MX_USB_DEVICE_Init(void);
void MX_FREERTOS_Init(void); /* (MISRA C 2004 rule 8.1) */

/* Hook prototypes */

/* Init FreeRTOS */

void MX_FREERTOS_Init(void) {

  /* Create the thread(s) */
  /* definition and creation of defaultTask */
  osThreadDef(defaultTask, StartDefaultTask, osPriorityNormal, 0, 128);
  defaultTaskHandle = osThreadCreate(osThread(defaultTask), NULL);

}

/* StartDefaultTask function */
void StartDefaultTask(void const * argument)
{
  /* init code for USB_DEVICE */
  MX_USB_DEVICE_Init();

  for(;;)
  {
    osDelay(1);
  }
}

/************************ (C) COPYRIGHT STMicroelectronics *****END OF FILE****/
